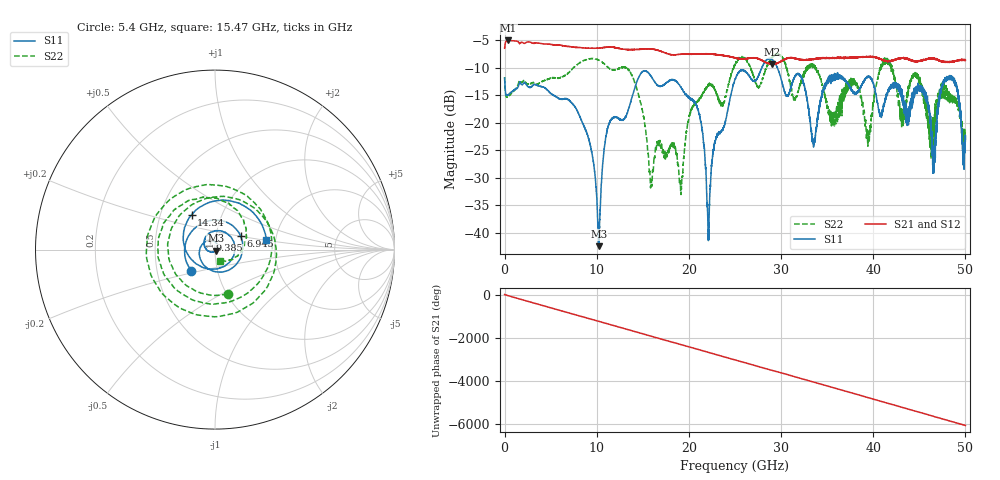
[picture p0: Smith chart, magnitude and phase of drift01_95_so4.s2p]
!Created with skrf (http://scikit-rf.org).
# Hz S RI R 50.0
!freq ReS11 ImS11 ReS21 ImS21 ReS12 ImS12 ReS22 ImS22
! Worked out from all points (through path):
!   10001 points, 300 kHz to 50 GHz, reference 50 ohm
!   highest |S21| = -5.05 dB at 395.3 MHz (marker M1); lowest = -9.4 dB at 29.06 GHz (marker M2)
!   group delay of S21, straight-line fit = 336 ps
!   lowest |S11| = -42.4 dB at 10.24 GHz (marker M3), VSWR 1.02, Z = 50.4 - j0.676 ohm
!   |S11| at or under -10 dB: start of sweep to 27.91 GHz; 29.6 GHz to end of sweep
!   |S22| runs from -33.0 to -7.5 dB; largest |S21 - S12| = 0.014
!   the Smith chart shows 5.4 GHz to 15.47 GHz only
!   S11 on the Smith chart (normalised r, x): 5.4 GHz: 0.75, -0.18; 6.945 GHz: 1.31, +0.20; 9.385 GHz: 0.94, +0.10; 14.34 GHz: 0.72, +0.30; 15.47 GHz: 1.79, +0.20
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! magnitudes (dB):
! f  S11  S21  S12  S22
! 300 kHz  -11.9  -6.5  -6.5  -11.7
! 395.3 MHz  -14.9  -5.1  -5.1  -15.2
! 5.4 GHz  -15.1  -5.8  -5.8  -11.8
! 6.945 GHz  -15.9  -6.1  -6.1  -10.9
! 8.335 GHz  -19.5  -6.4  -6.4  -8.9
! 9.385 GHz  -24.7  -6.5  -6.5  -8.4
! 10.24 GHz  -42.4  -6.4  -6.4  -8.6
! 11.23 GHz  -20.7  -6.3  -6.3  -9.9
! 14.34 GHz  -12.6  -6.7  -6.7  -13.7
! 15.47 GHz  -10.7  -6.6  -6.6  -23.5
! 16.67 GHz  -13.3  -6.9  -6.9  -23.4
! 19.13 GHz  -13.5  -7.6  -7.6  -32.7
! 20.85 GHz  -16.9  -7.6  -7.5  -16.2
! 22.12 GHz  -41.4  -7.5  -7.5  -13.3
! 25 GHz  -12.1  -8.2  -8.2  -9.5
! 29.06 GHz  -8.6  -9.4  -9.4  -8.0
! 33.34 GHz  -22.4  -8.5  -8.4  -9.6
! 39.47 GHz  -11.6  -8.0  -8.0  -22.3
! 41.67 GHz  -14.0  -8.8  -8.7  -8.8
! 46.56 GHz  -24.7  -8.3  -8.3  -20.3
! 48.52 GHz  -11.6  -8.9  -8.9  -15.3
! 50 GHz  -23.3  -8.7  -8.7  -23.2
